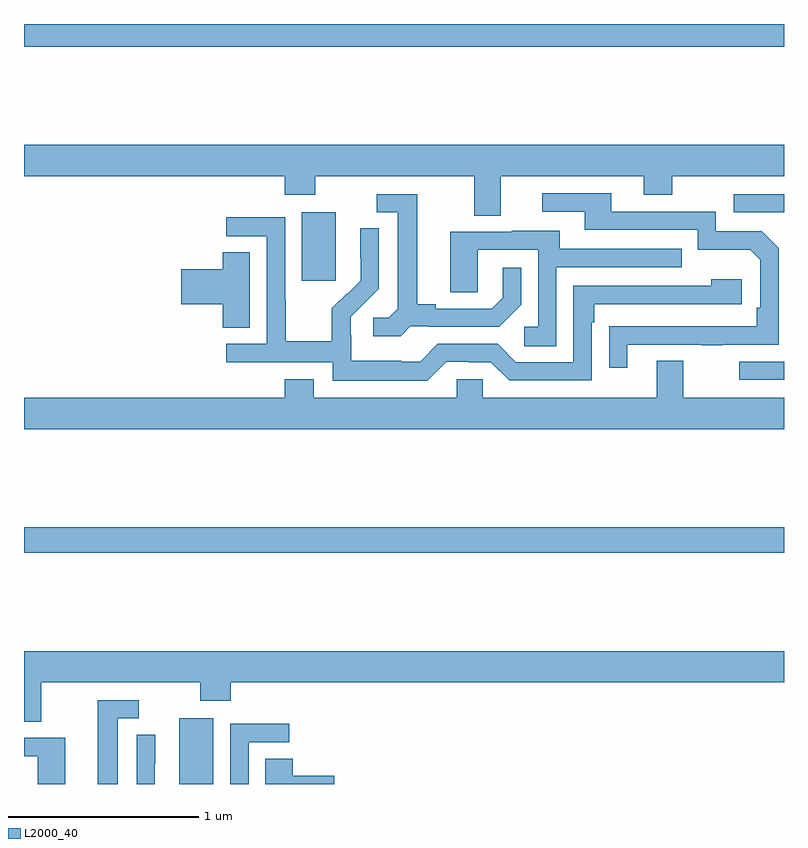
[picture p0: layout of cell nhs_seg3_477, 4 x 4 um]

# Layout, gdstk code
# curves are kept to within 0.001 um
import gdstk
lib = gdstk.Library(unit=1e-6, precision=1e-09)
def R(c, l, rs):  # rectangles x0, y0, x1, y1
    for r in rs: c.add(gdstk.rectangle(r[:2], r[2:], *l))
def P(c, l, *ps):  # polygons
    for p in ps: c.add(gdstk.Polygon(p, *l))
L2000_40 = (2000, 40)

nhs_seg3_477 = lib.new_cell('nhs_seg3_477')
R(nhs_seg3_477, L2000_40, [(135.818,680.4,135.997,680.746), (135,681.616,139,681.752), (138.765,682.527,139,682.623), (136.463,683.049,136.642,683.41), (138.735,683.409,139,683.505), (135,684.28,139,684.4)])
P(nhs_seg3_477, L2000_40, [(137.509,683.6),(138.263,683.6),(138.263,683.501),(138.411,683.501),(138.411,683.6),(139,683.6),(139,683.764),(135,683.764),(135,683.6),(136.373,683.6),(136.373,683.501),(136.533,683.501),(136.533,683.6),(137.369,683.6),(137.369,683.392),(137.509,683.392)],
  [(138.175,682.713),(138.565,682.713),(138.565,682.708),(138.677,682.708),(138.677,682.713),(138.972,682.713),(138.972,683.22),(138.882,683.31),(138.642,683.31),(138.642,683.412),(138.091,683.412),(138.091,683.508),(137.727,683.508),(137.727,683.412),(137.951,683.412),(137.951,683.316),(138.546,683.316),(138.546,683.213),(138.823,683.213),(138.876,683.16),(138.876,682.906),(138.856,682.906),(138.856,682.809),(138.079,682.808),(138.079,682.59),(138.175,682.59)],
  [(137.034,682.809),(137.128,682.809),(137.128,682.806),(137.5,682.806),(137.616,682.922),(137.616,683.116),(137.519,683.116),(137.519,682.959),(137.462,682.902),(137.167,682.902),(137.167,682.925),(137.071,682.925),(137.071,683.505),(136.857,683.505),(136.857,683.409),(136.967,683.409),(136.967,682.901),(136.92,682.854),(136.839,682.854),(136.839,682.757),(136.982,682.757)],
  [(137.223,682.623),(137.339,682.623),(137.339,682.62),(137.457,682.62),(137.553,682.524),(137.988,682.524),(137.988,682.829),(138.001,682.829),(138.001,682.926),(138.778,682.926),(138.778,683.056),(138.617,683.056),(138.617,683.022),(137.892,683.022),(137.892,682.62),(137.589,682.62),(137.493,682.716),(137.178,682.716),(137.085,682.623),(136.985,682.623),(136.985,682.627),(136.722,682.627),(136.722,682.761),(136.72,682.761),(136.72,682.858),(136.866,683.006),(136.866,683.324),(136.77,683.324),(136.77,683.17),(136.772,683.17),(136.772,683.048),(136.701,682.977),(136.698,682.98),(136.621,682.903),(136.621,682.729),(136.377,682.729),(136.377,682.952),(136.374,682.952),(136.374,683.382),(136.065,683.382),(136.065,683.283),(136.278,683.283),(136.278,682.716),(136.065,682.716),(136.065,682.62),(136.626,682.62),(136.626,682.523),(137.123,682.523)],
  [(137.802,683.121),(138.461,683.121),(138.461,683.217),(137.821,683.217),(137.821,683.311),(137.567,683.311),(137.567,683.307),(137.243,683.307),(137.243,682.987),(137.388,682.987),(137.388,683.211),(137.706,683.211),(137.706,682.806),(137.634,682.806),(137.634,682.705),(137.802,682.705)],
  [(136.189,683.198),(136.046,683.198),(136.046,683.108),(135.828,683.108),(135.828,682.925),(136.046,682.925),(136.046,682.801),(136.189,682.801)],
  [(139,682.432),(138.469,682.432),(138.469,682.627),(138.329,682.627),(138.329,682.432),(137.415,682.432),(137.415,682.53),(137.277,682.53),(137.277,682.432),(136.525,682.432),(136.525,682.531),(136.373,682.531),(136.373,682.432),(135,682.432),(135,682.268),(139,682.268)],
  [(135.091,680.936),(135.928,680.936),(135.928,680.837),(136.088,680.837),(136.088,680.936),(139,680.936),(139,681.1),(135,681.1),(135,680.728),(135.091,680.728)],
  [(135.493,680.745),(135.604,680.745),(135.604,680.841),(135.389,680.841),(135.389,680.4),(135.493,680.4)],
  [(136.182,680.619),(136.396,680.619),(136.396,680.718),(136.086,680.718),(136.086,680.4),(136.182,680.4)],
  [(135.689,680.506),(135.69,680.506),(135.69,680.66),(135.594,680.66),(135.594,680.4),(135.689,680.4)],
  [(135.217,680.643),(135,680.643),(135,680.547),(135.072,680.547),(135.072,680.4),(135.217,680.4)],
  [(136.633,680.444),(136.415,680.444),(136.415,680.534),(136.271,680.534),(136.271,680.4),(136.633,680.4)])

lib.write_gds('nhs_seg3_477.gds')
